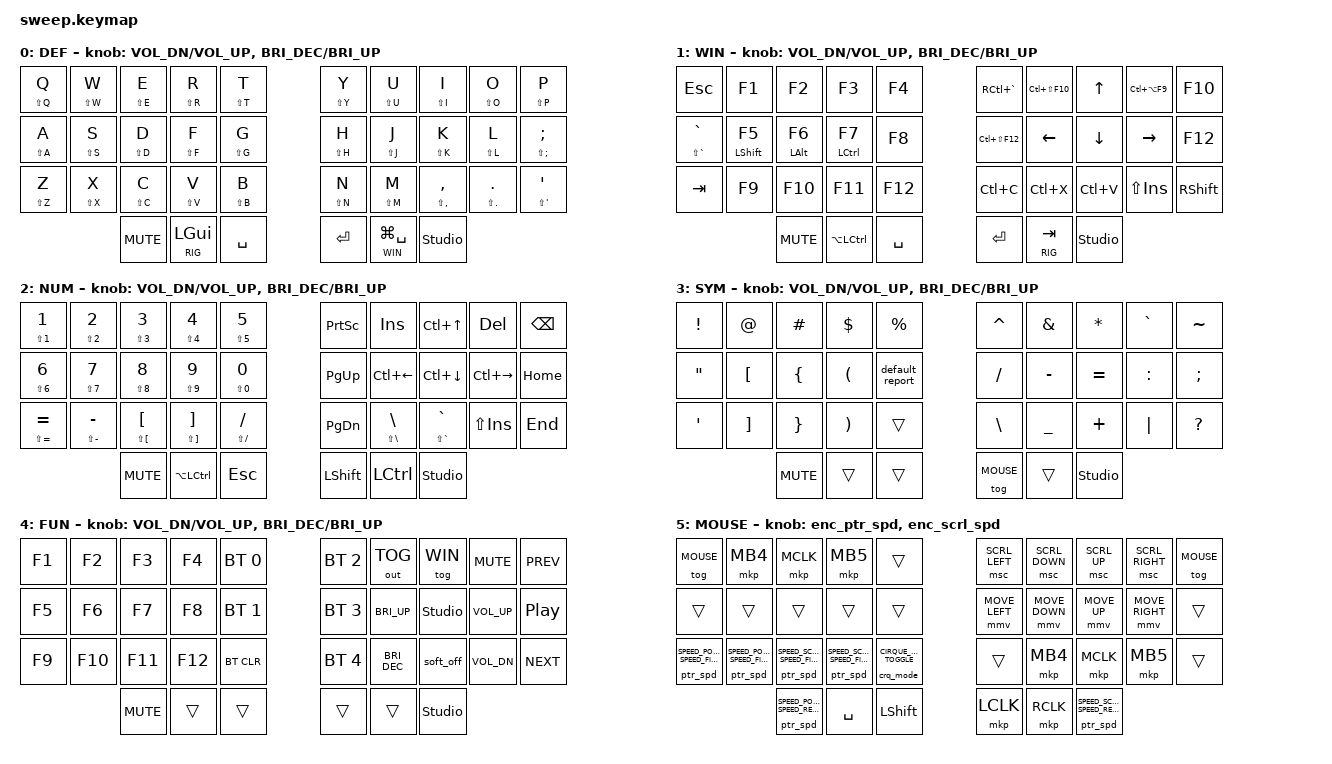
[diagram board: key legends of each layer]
// Copyright (c) 2022 The ZMK Contributors
// SPDX-License-Identifier: MIT
// #include <dt-bindings/zmk/rgb.h>

#define ZMK_POINTING_DEFAULT_MOVE_VAL 2500// 600
#define ZMK_POINTING_DEFAULT_SCRL_VAL 20// 10

#include <behaviors.dtsi>
#include <dt-bindings/zmk/bt.h>
#include <dt-bindings/zmk/keys.h>
#include <dt-bindings/zmk/outputs.h>
#include <dt-bindings/zmk/pointing.h>

#include "behaviors/character_map.dtsi"
#include "behaviors/report.dtsi"


#define MAC 0
#define WIN 1
#define RIG 2
#define LEF 3
#define TRI 4
#define MOUSE 5

#define SPEED_POINTER 0
#define SPEED_SCROLL 1
#define SPEED_PREV 0
#define SPEED_NEXT 1
#define SPEED_RESET 2
#define SPEED_FINE_PREV 3
#define SPEED_FINE_NEXT 4
#define CIRQUE_MODE_RELATIVE 0
#define CIRQUE_MODE_ABSOLUTE 1
#define CIRQUE_MODE_TOGGLE 2


&sensors {
	left_encoder {
		triggers-per-rotation = <15>;
	};
	right_encoder {
		triggers-per-rotation = <45>;
	};
};

&glidepoint_listener {
	input-processors = <&pointer_processor 0 0 &drag_scroll_processor 1 8>;
};

/ {
	pointer_processor: pointer_processor {
		compatible = "zmk,input-processor-pointer-speed";
		#input-processor-cells = <2>;
		track-remainders;
		pointer-curve = "adaptive";
		pointer-curve-deadzone = <2>;
		pointer-curve-accel-multiplier = <1>;
		pointer-curve-accel-divisor = <12>;
		pointer-curve-max-delta = <120>;
		one-x-multiplier = <1>;
		one-x-divisor = <1>;
		min-percent = <10>;
		max-percent = <400>;
		initial-speed-position = <50>;
	};
	
	drag_scroll_processor: drag_scroll_processor {
		compatible = "zmk,input-processor-drag-scroll";
		#input-processor-cells = <2>;
		track-remainders;
		native-wheel-axis = "horizontal-when-enabled";
		scroll-min-step = <1>;
		one-x-multiplier = <1>;
		one-x-divisor = <1>;
		min-percent = <10>;
		max-percent = <1000>;
		initial-speed-position = <50>;
	};
	
	behaviors {
		drgscrl: drag_scroll {
			compatible = "zmk,behavior-drag-scroll";
			#binding-cells = <0>;
		};
	
		ptr_spd: pointing_speed {
			compatible = "zmk,behavior-pointing-speed";
			#binding-cells = <2>;
		};

		enc_ptr_spd: encoder_pointer_speed {
			compatible = "zmk,behavior-sensor-rotate";
			#sensor-binding-cells = <0>;
			bindings = <&ptr_spd SPEED_POINTER SPEED_PREV>, <&ptr_spd SPEED_POINTER SPEED_NEXT>;
		};

		enc_scrl_spd: encoder_scroll_speed {
			compatible = "zmk,behavior-sensor-rotate";
			#sensor-binding-cells = <0>;
			bindings = <&ptr_spd SPEED_SCROLL SPEED_PREV>, <&ptr_spd SPEED_SCROLL SPEED_NEXT>;
		};

		crq_mode: crqm {
			compatible = "zmk,behavior-cirque-mode";
			#binding-cells = <1>;
		};

		sel_x: select_x {
			compatible = "zmk,behavior-hold-tap";
			#binding-cells = <2>;
			flavor = "tap-preferred";
			tapping-term-ms = <200>;
			quick-tap-ms = <150>;
			require-prior-idle-ms = <125>;
			bindings = <&mkp>, <&kp>;
		};
		
		ds_z: drag_scroll_z {
			compatible = "zmk,behavior-hold-tap";
			#binding-cells = <2>;
			flavor = "tap-preferred";
			tapping-term-ms = <200>;
			quick-tap-ms = <150>;
			require-prior-idle-ms = <125>;
			bindings = <&drgscrl>, <&kp>;
		};

		ht: hold_tap {
			label = "hold_tap";
			compatible = "zmk,behavior-hold-tap";
			#binding-cells = <2>;
			flavor = "balanced";
			tapping-term-ms = <200>;
			quick-tap-ms = <150>;
			require-prior-idle-ms = <125>;
			global-quick-tap;
			bindings = <&kp>, <&kp>;
		};
		mmv {
			acceleration-exponent = <1>;// 1
			time-to-max-speed-ms = <300>;// 40
			delay-ms = <0>;// 0
		};
		msc {
			acceleration-exponent = <0>;// 0
			time-to-max-speed-ms = <40>;// 500
			delay-ms = <0>;// 10
		};
	};
	
	conditional_layers {
		compatible = "zmk,conditional-layers";
		
		tri_layer {
			if-layers = <RIG LEF>;
			then-layer = <TRI>;
		};
	};

	combos {
		compatible = "zmk,combos";

		combo_er_right_click {
			timeout-ms = <25>;
			require-prior-idle-ms = <125>;
			key-positions = <2 3>;
			layers = <MAC WIN MOUSE>;
			bindings = <&mkp RCLK>;
		};

		combo_rt_forward {
			timeout-ms = <25>;
			require-prior-idle-ms = <125>;
			key-positions = <3 4>;
			layers = <MAC WIN MOUSE>;
			bindings = <&mkp MB5>;
		};

		combo_df_left_click {
			timeout-ms = <25>;
			require-prior-idle-ms = <125>;
			key-positions = <12 13>;
			layers = <MAC WIN MOUSE>;
			bindings = <&mkp LCLK>;
		};

		combo_fg_back {
			timeout-ms = <25>;
			require-prior-idle-ms = <125>;
			key-positions = <13 14>;
			layers = <MAC WIN MOUSE>;
			bindings = <&mkp MB4>;
		};

		combo_cv_middle_click {
			timeout-ms = <25>;
			require-prior-idle-ms = <125>;
			key-positions = <22 23>;
			layers = <MAC WIN MOUSE>;
			bindings = <&mkp MCLK>;
		};
	};
	
	keymap {
		compatible = "zmk,keymap";
		
		default_layer {
			display-name = "DEF";
			bindings = <
			&ht LS(Q) Q      &ht LS(W) W      &ht LS(E) E      &ht LS(R) R      &ht LS(T) T      &ht LS(Y) Y      &ht LS(U) U      &ht LS(I) I          &ht LS(O) O        &ht LS(P) P
			&ht LS(A) A      &ht LS(S) S      &ht LS(D) D      &ht LS(F) F      &ht LS(G) G      &ht LS(H) H      &ht LS(J) J      &ht LS(K) K          &ht LS(L) L        &ht LS(SEMI) SEMI
			&ht LS(Z) Z      &ht LS(X) X      &ht LS(C) C      &ht LS(V) V      &ht LS(B) B      &ht LS(N) N      &ht LS(M) M      &ht LS(COMMA) COMMA  &ht LS(DOT) DOT    &ht LS(SQT) SQT
			&kp C_MUTE       &lt RIG LGUI     &kp SPACE        &kp ENTER        &lt WIN LG(SPACE)    &studio_unlock
			>;
			sensor-bindings = <&inc_dec_kp C_VOL_DN C_VOL_UP &inc_dec_kp C_BRI_DEC C_BRI_UP>;
		};
		
		windows_layer {
			display-name = "WIN";
			bindings = <
			&kp ESC              &kp F1          &kp F2          &kp F3           &kp F4      &kp RC(GRAVE)    &kp LC(LS(F10))  &kp UP      &kp LC(LA(F9))  &kp F10
			&ht LS(GRAVE) GRAVE  &ht LSHIFT F5   &ht LALT F6     &ht LCTRL F7     &kp F8      &kp LC(LS(F12))  &kp LEFT         &kp DOWN    &kp RIGHT       &kp F12
			&kp TAB              &kp F9          &kp F10         &kp F11          &kp F12     &kp LC(C)        &kp LC(X)        &kp LC(V)   &kp LS(INS)     &kp RSHIFT
			&kp C_MUTE           &kp LA(LCTRL)   &kp SPACE       &kp ENTER        &lt RIG TAB  &studio_unlock
			>;
			sensor-bindings = <&inc_dec_kp C_VOL_DN C_VOL_UP &inc_dec_kp C_BRI_DEC C_BRI_UP>;
		};
		
		right_layer {
			display-name = "NUM";
			bindings = <
			&ht LS(N1) N1        &ht LS(N2) N2        &ht LS(N3) N3      &ht LS(N4) N4        &ht LS(N5) N5        &kp PSCRN            &kp INS              &kp LC(UP)           &kp DEL              &kp BSPC
			&ht LS(N6) N6        &ht LS(N7) N7        &ht LS(N8) N8      &ht LS(N9) N9        &ht LS(N0) N0        &kp PG_UP            &kp LC(LEFT)         &kp LC(DOWN)         &kp LC(RIGHT)        &kp HOME
			&ht LS(EQUAL) EQUAL  &ht LS(MINUS) MINUS  &ht LS(LBKT) LBKT  &ht LS(RBKT) RBKT    &ht LS(FSLH) FSLH    &kp PG_DN            &ht LS(BSLH) BSLH    &ht LS(GRAVE) GRAVE  &kp LS(INS)          &kp END
			&kp C_MUTE           &kp LA(LCTRL)        &kp ESC            &kp LSHIFT           &kp LCTRL            &studio_unlock
			>;
			sensor-bindings = <&inc_dec_kp C_VOL_DN C_VOL_UP &inc_dec_kp C_BRI_DEC C_BRI_UP>;
		};
		
		left_layer {
			display-name = "SYM";
			bindings = <
			&kp EXCL  &kp AT    &kp HASH  &kp DLLR  &kp PRCNT    &kp CARET  &kp AMPS   &kp ASTRK  &kp GRAVE  &kp TILDE
			&kp DQT   &kp LBKT  &kp LBRC  &kp LPAR  &default_report     &kp FSLH   &kp MINUS  &kp EQUAL  &kp COLON  &kp SEMI
			&kp SQT   &kp RBKT  &kp RBRC  &kp RPAR  &trans   &kp BSLH   &kp UNDER  &kp PLUS   &kp PIPE   &kp QMARK
			&kp C_MUTE &trans    &trans       &tog MOUSE     &trans  &studio_unlock
			>;
			sensor-bindings = <&inc_dec_kp C_VOL_DN C_VOL_UP &inc_dec_kp C_BRI_DEC C_BRI_UP>;
		};
		
		tri_layer {
			display-name = "FUN";
			bindings = <
			&kp F1  &kp F2   &kp F3   &kp F4   &bt BT_SEL 0    &bt BT_SEL 2  &out OUT_TOG   &tog WIN  &kp C_MUTE    &kp C_PREV
			&kp F5  &kp F6   &kp F7   &kp F8   &bt BT_SEL 1    &bt BT_SEL 3  &kp C_BRI_UP   &studio_unlock    &kp C_VOL_UP  &kp C_PP
			&kp F9  &kp F10  &kp F11  &kp F12  &bt BT_CLR      &bt BT_SEL 4  &kp C_BRI_DEC  &soft_off     &kp C_VOL_DN  &kp C_NEXT
			&kp C_MUTE  &trans   &trans          &trans        &trans  &studio_unlock
			>;
			sensor-bindings = <&inc_dec_kp C_VOL_DN C_VOL_UP &inc_dec_kp C_BRI_DEC C_BRI_UP>;
		};
	
		mouse {
			display-name = "MOUSE";
			bindings = <
			&tog MOUSE  &mkp MB4  &mkp MCLK  &mkp MB5   &trans      &msc SCRL_LEFT     &msc SCRL_DOWN    &msc SCRL_UP     &msc SCRL_RIGHT    &tog MOUSE
			&trans      &trans    &trans     &trans     &trans      &mmv MOVE_LEFT     &mmv MOVE_DOWN    &mmv MOVE_UP     &mmv MOVE_RIGHT    &trans
			&ptr_spd SPEED_POINTER SPEED_FINE_PREV  &ptr_spd SPEED_POINTER SPEED_FINE_NEXT  &ptr_spd SPEED_SCROLL SPEED_FINE_PREV  &ptr_spd SPEED_SCROLL SPEED_FINE_NEXT  &crq_mode CIRQUE_MODE_TOGGLE        &trans     &mkp MB4  &mkp MCLK  &mkp MB5  &trans
			&ptr_spd SPEED_POINTER SPEED_RESET &kp SPACE  &kp LSHIFT  &mkp LCLK  &mkp RCLK &ptr_spd SPEED_SCROLL SPEED_RESET
			>;
			sensor-bindings = <&enc_ptr_spd &enc_scrl_spd>;
		};
	};
};
